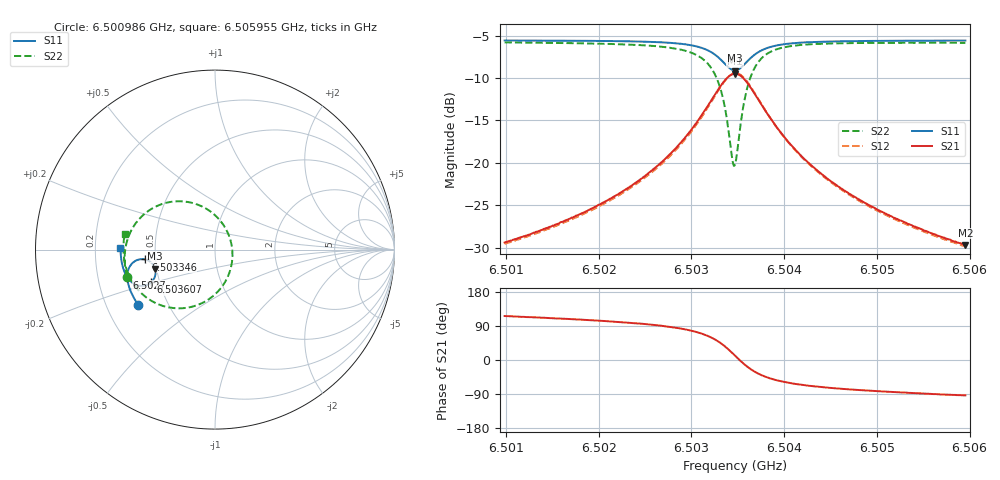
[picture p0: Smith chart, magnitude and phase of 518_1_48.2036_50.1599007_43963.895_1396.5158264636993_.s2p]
#  HZ  S  RI  R  50.00
! Rohde & Schwarz Vector Network Analyzer
! Rohde-Schwarz,ZNB20-2Port,1311601062101988,3.16
! Created: UTC 3/20/2024, 11:59:15 AM
! freq[Hz]  re:S11  im:S11  re:S21  im:S21  re:S12  im:S12  re:S22  im:S22
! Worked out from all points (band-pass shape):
!   401 points, 6.500986 GHz to 6.505955 GHz, reference 50 ohm
!   highest |S21| = -9.49 dB at 6.50347 GHz (marker M1); lowest = -29.7 dB at 6.505955 GHz (marker M2)
!   |S21| within 3 dB of the highest: 6.503222 GHz to 6.503719 GHz (496.1 kHz wide, 0.00763 % of centre)
!   lowest |S11| = -9.1 dB at 6.50347 GHz (marker M3), VSWR 2.08, Z = 24.5 - j5.88 ohm
!   |S11| at or under -10 dB: nowhere
!   |S22| runs from -20.4 to -5.8 dB; largest |S21 - S12| = 0.011
!   S11 on the Smith chart (normalised r, x): 6.500986 GHz: 0.34, -0.29; 6.5027 GHz: 0.33, -0.14; 6.503346 GHz: 0.44, -0.06; 6.503607 GHz: 0.45, -0.19; 6.505955 GHz: 0.31, +0.01
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6.5009856e9  -0.4278 -0.3082  -0.0149 0.0305  -0.0133 0.0306  -0.4905 -0.1523
6.5018179e9  -0.4634 -0.2463  -0.0143 0.0484  -0.0119 0.0479  -0.5031 -0.0634
6.5022652e9  -0.479 -0.2065  -0.0112 0.0674  -0.00842 0.0663  -0.5 0.000468
6.5026503e9  -0.4882 -0.1638  -0.00193 0.0978  0.0016 0.0955  -0.4798 0.078
6.5027e9  -0.4886 -0.1572  0.000353 0.1035  0.0041 0.101  -0.4744 0.0906
6.502936e9  -0.4854 -0.1204  0.023 0.14  0.0264 0.136  -0.4276 0.1645
6.5030976e9  -0.4712 -0.0882  0.0617 0.1758  0.0643 0.1703  -0.3522 0.2278
6.5032466e9  -0.434 -0.0584  0.1424 0.2047  0.143 0.1987  -0.2053 0.2693
6.503346e9  -0.388 -0.055  0.2329 0.1886  0.233 0.1844  -0.0486 0.2278
6.503433e9  -0.3453 -0.0836  0.311 0.1153  0.3133 0.1115  0.0758 0.0833
6.5034578e9  -0.3373 -0.0977  0.3242 0.0837  0.3277 0.0794  0.0928 0.0242
6.5034702e9  -0.3344 -0.1054  0.3287 0.067  0.3323 0.0622  0.0968 -0.00691
6.5034951e9  -0.3314 -0.1215  0.3322 0.0328  0.3364 0.0265  0.0947 -0.0696
6.5035324e9  -0.3334 -0.1452  0.3253 -0.0171  0.329 -0.0255  0.0682 -0.158
6.5036069e9  -0.3553 -0.1821  0.2793 -0.0932  0.2797 -0.1039  -0.0402 -0.2803
6.5037187e9  -0.4007 -0.2021  0.193 -0.1383  0.1883 -0.1479  -0.2146 -0.3269
6.5038802e9  -0.4476 -0.1925  0.1099 -0.1348  0.1033 -0.1399  -0.3644 -0.2792
6.5040541e9  -0.4753 -0.1712  0.0647 -0.1142  0.0587 -0.1164  -0.4376 -0.2132
6.5043026e9  -0.4964 -0.1413  0.0344 -0.0892  0.0297 -0.0899  -0.4814 -0.1403
6.5046629e9  -0.5116 -0.1032  0.0155 -0.0662  0.0122 -0.0659  -0.5037 -0.067
6.505135e9  -0.5214 -0.0593  0.00522 -0.0487  0.00294 -0.0481  -0.5104 0.000631
6.5059549e9  -0.5265 0.0103  -0.00187 -0.0328  -0.00339 -0.0321  -0.5029 0.0882
